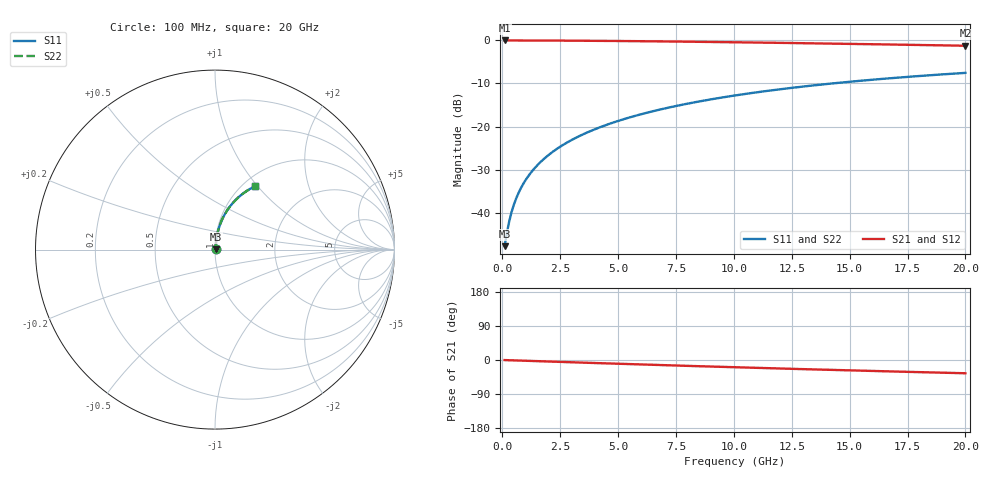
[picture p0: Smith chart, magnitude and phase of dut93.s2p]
! Touchstone file exported from HFSS 2024.1.0
!  File:  C:/UserFiles/LocalFiles/RDL_TSV_Batchsim/temp_RDL_top_93_1778682934.aedt
!  Generated:  10:37:58 PM May 13, 2026
!  Design:  RDL_top
!  Project:  temp_RDL_top_93_1778682934
!  Setup:  Setup1
!  Solution:  Sweep
! Variables:
!  dtsv = 10.80580581um
!  hbump = 3um
!  htsv = 70.19um
!  ldown = 100um
!  lrdl = 415.45um
!  p = 40
!  p1 = 53.39um
!  rhole = 1um
!  t = 450um
!  tdown = 3.915915916um
!  trdl = 3.67um
!  wdown = 15.38538539um
!  wrdl = 12.51um
# GHz S MA R 50.000000
! Terminal data exported
! Port[1] = Box2_T1
! Port[2] = Box2_T2
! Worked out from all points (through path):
!   200 points, 100 MHz to 20 GHz, reference 50 ohm
!   highest |S21| = -0.03 dB at 100 MHz (marker M1); lowest = -1.3 dB at 20 GHz (marker M2)
!   group delay of S21, straight-line fit = 4.85 ps
!   lowest |S11| = -47.8 dB at 100 MHz (marker M3), VSWR 1.01, Z = 50.3 + j0.242 ohm
!   |S11| at or under -10 dB: start of sweep to 14.26 GHz
!   |S22| runs from -47.8 to -7.6 dB; largest |S21 - S12| = 2.5e-15
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0.1  0.004085 36.1  0.9967 -0.2  0.9967 -0.2  0.004085 36.1
! Gamma 0 0 0 0
! Port Impedance 50 0 50 0
0.2  0.005857 54.9  0.9966 -0.4  0.9966 -0.4  0.005857 54.9
0.3  0.007949 64.2  0.9965 -0.6  0.9965 -0.6  0.007949 64.2
0.4  0.01015 69.5  0.9964 -0.8  0.9964 -0.8  0.01015 69.5
0.5  0.01239 72.8  0.9963 -1.0  0.9963 -1.0  0.01239 72.8
0.6  0.01464 75.0  0.9962 -1.2  0.9962 -1.2  0.01464 75.0
0.8  0.01918 77.8  0.996 -1.6  0.996 -1.6  0.01918 77.8
1.1  0.02604 80.1  0.9956 -2.2  0.9956 -2.2  0.02604 80.1
1.5  0.03522 81.5  0.9949 -3.0  0.9949 -3.0  0.03522 81.5
1.8  0.04214 82.1  0.9943 -3.6  0.9943 -3.6  0.04214 82.0
2.1  0.04906 82.3  0.9936 -4.2  0.9936 -4.2  0.04906 82.3
2.7  0.06293 82.3  0.992 -5.4  0.992 -5.4  0.06292 82.3
3.5  0.08142 81.8  0.9892 -7.0  0.9892 -7.0  0.08141 81.8
4.2  0.09758 81.1  0.9863 -8.4  0.9863 -8.4  0.09757 81.1
5  0.116 80.2  0.9825 -9.9  0.9825 -9.9  0.116 80.2
5.9  0.1366 79.0  0.9777 -11.6  0.9777 -11.6  0.1366 79.0
6.8  0.1571 77.7  0.9724 -13.3  0.9724 -13.3  0.1571 77.7
8.3  0.1908 75.4  0.9626 -16.0  0.9626 -16.0  0.1908 75.4
10.1  0.2303 72.7  0.9496 -19.2  0.9496 -19.2  0.2303 72.6
13.4  0.2992 67.5  0.9233 -24.8  0.9233 -24.8  0.2991 67.4
16.7  0.3623 62.4  0.8949 -30.0  0.8949 -30.0  0.3622 62.4
20  0.419 57.5  0.8655 -35.0  0.8655 -35.0  0.4189 57.5
